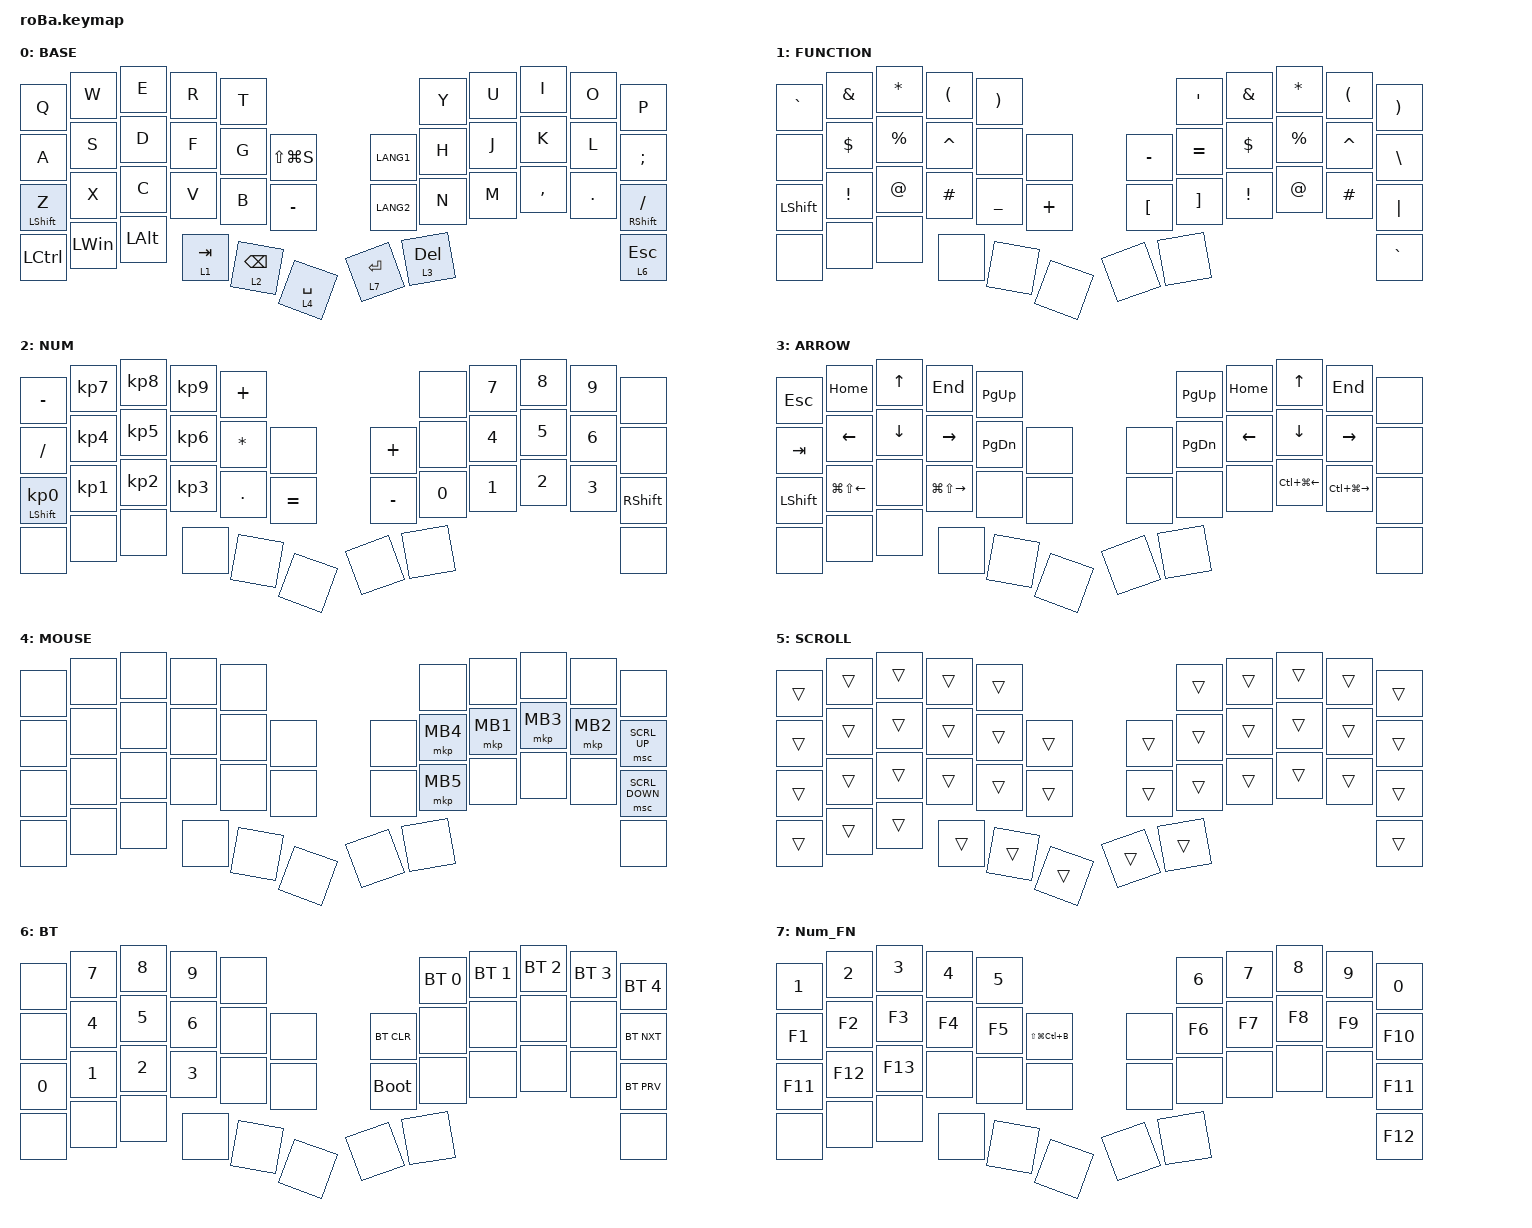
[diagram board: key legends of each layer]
#include <behaviors.dtsi>
#include <dt-bindings/zmk/bt.h>
#include <dt-bindings/zmk/keys.h>
#include <dt-bindings/zmk/pointing.h>
#include <dt-bindings/zmk/outputs.h>

#define BASE    0
#define FUCTION 1
#define NUM     2
#define ARROW   3
#define MOUSE   4
#define SCROLL  5
#define BT      6
#define Num_FN  7

/ {
    trackball_listener {
        compatible = "zmk,input-listener";
        device = <&vtrackball>;
    };

    keymap {
        compatible = "zmk,keymap";

        BASE {
            bindings = <
&kp Q             &kp W         &kp E         &kp R      &kp T                                            &kp Y      &kp U  &kp I      &kp O    &kp P
&kp A             &kp S         &kp D         &kp F      &kp G            &kp LS(LG(S))      &kp LANG1    &kp H      &kp J  &kp K      &kp L    &kp SEMICOLON
&mt LEFT_SHIFT Z  &kp X         &kp C         &kp V      &kp B            &kp MINUS          &kp LANG2    &kp N      &kp M  &kp COMMA  &kp DOT  &mt RIGHT_SHIFT SLASH
&kp LCTRL         &kp LEFT_WIN  &kp LEFT_ALT  &lt 1 TAB  &lt 2 BACKSPACE  &lt 4 SPACE        &lt 7 ENTER  &lt 3 DEL                             &lt 6 ESC
            >;
        };

        FUNCTION {
            bindings = <
&kp GRAVE       &kp AMPS  &kp ASTRK  &kp LPAR   &kp RPAR                            &kp SQT    &kp AMPS  &kp ASTRK  &kp LPAR   &kp RPAR
&none           &kp DLLR  &kp PRCNT  &kp CARET  &none      &none         &kp MINUS  &kp EQUAL  &kp DLLR  &kp PRCNT  &kp CARET  &kp BSLH
&kp LEFT_SHIFT  &kp EXCL  &kp AT     &kp HASH   &kp UNDER  &kp PLUS      &kp LBKT   &kp RBKT   &kp EXCL  &kp AT     &kp HASH   &kp PIPE
&none           &none     &none      &none      &none      &none         &none      &none                                      &kp GRAVE
            >;
        };

        NUM {
            bindings = <
&kp MINUS                   &kp KP_NUMBER_7  &kp KP_NUMBER_8  &kp KP_NUMBER_9  &kp PLUS                                &none   &kp N7  &kp N8  &kp N9  &none
&kp SLASH                   &kp KP_NUMBER_4  &kp KP_NUMBER_5  &kp KP_NUMBER_6  &kp ASTERISK  &none          &kp PLUS   &none   &kp N4  &kp N5  &kp N6  &none
&mt LEFT_SHIFT KP_NUMBER_0  &kp KP_NUMBER_1  &kp KP_NUMBER_2  &kp KP_NUMBER_3  &kp PERIOD    &kp EQUAL      &kp MINUS  &kp N0  &kp N1  &kp N2  &kp N3  &kp RIGHT_SHIFT
&none                       &none            &none            &none            &none         &none          &none      &none                           &none
            >;
        };

        ARROW {
            bindings = <
&kp ESCAPE  &kp HOME                &kp UP_ARROW    &kp END                  &kp PG_UP                    &kp PG_UP      &kp HOME        &kp UP_ARROW            &kp END                  &none
&kp TAB     &kp LEFT_ARROW          &kp DOWN_ARROW  &kp RIGHT_ARROW          &kp PG_DN  &none      &none  &kp PAGE_DOWN  &kp LEFT_ARROW  &kp DOWN_ARROW          &kp RIGHT_ARROW          &none
&kp LSHFT   &kp LG(LS(LEFT_ARROW))  &none           &kp LG(LS(RIGHT_ARROW))  &none      &none      &none  &none          &none           &kp LC(LG(LEFT_ARROW))  &kp LC(LG(RIGHT_ARROW))  &none
&none       &none                   &none           &none                    &none      &none      &none  &none                                                                           &none
            >;
        };

        MOUSE {
            bindings = <
&none  &none  &none  &none  &none                    &none     &none     &none     &none     &none
&none  &none  &none  &none  &none  &none      &none  &mkp MB4  &mkp MB1  &mkp MB3  &mkp MB2  &msc SCRL_UP
&none  &none  &none  &none  &none  &none      &none  &mkp MB5  &none     &none     &none     &msc SCRL_DOWN
&none  &none  &none  &none  &none  &none      &none  &none                                   &none
            >;
        };

        SCROLL {
            bindings = <
&trans  &trans  &trans  &trans  &trans                      &trans  &trans  &trans  &trans  &trans
&trans  &trans  &trans  &trans  &trans  &trans      &trans  &trans  &trans  &trans  &trans  &trans
&trans  &trans  &trans  &trans  &trans  &trans      &trans  &trans  &trans  &trans  &trans  &trans
&trans  &trans  &trans  &trans  &trans  &trans      &trans  &trans                          &trans
            >;
        };

        BT {
            bindings = <
&none         &kp NUMBER_7  &kp NUMBER_8  &kp NUMBER_9  &none                          &bt BT_SEL 0  &bt BT_SEL 1  &bt BT_SEL 2  &bt BT_SEL 3  &bt BT_SEL 4
&none         &kp NUMBER_4  &kp NUMBER_5  &kp NUMBER_6  &none  &none      &bt BT_CLR   &none         &none         &none         &none         &bt BT_NXT
&kp NUMBER_0  &kp NUMBER_1  &kp NUMBER_2  &kp NUMBER_3  &none  &none      &bootloader  &none         &none         &none         &none         &bt BT_PRV
&none         &none         &none         &none         &none  &none      &none        &none                                                   &none
            >;
        };

        Num_FN {
            bindings = <
&kp NUMBER_1  &kp NUMBER_2  &kp NUMBER_3  &kp NUMBER_4  &kp NUMBER_5                                &kp NUMBER_6  &kp NUMBER_7  &kp NUMBER_8  &kp NUMBER_9  &kp NUMBER_0
&kp F1        &kp F2        &kp F3        &kp F4        &kp F5        &kp LS(LG(LC(B)))      &none  &kp F6        &kp F7        &kp F8        &kp F9        &kp F10
&kp F11       &kp F12       &kp F13       &none         &none         &none                  &none  &none         &none         &none         &none         &kp F11
&none         &none         &none         &none         &none         &none                  &none  &none                                                   &kp F12
            >;
        };
    };
};
